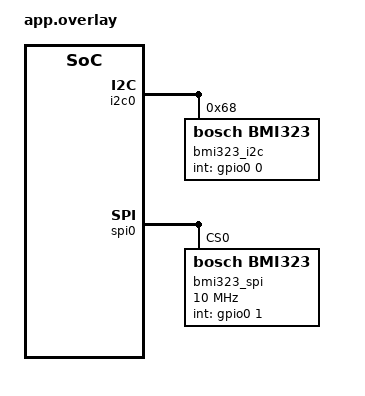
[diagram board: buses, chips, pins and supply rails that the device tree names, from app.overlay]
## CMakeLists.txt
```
# Copyright (c) 2026 Chaogui Deng
# SPDX-License-Identifier: Apache-2.0

cmake_minimum_required(VERSION 3.28.0)
find_package(Zephyr REQUIRED HINTS $ENV{ZEPHYR_BASE})
project(bmi323)

target_sources(app PRIVATE src/main.c)
```

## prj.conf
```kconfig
# Copyright (c) 2026 Chaogui Deng
# SPDX-License-Identifier: Apache-2.0

CONFIG_ZTEST=y

CONFIG_SENSOR=y
CONFIG_EMUL=y
CONFIG_GPIO=y

CONFIG_I2C_LOG_LEVEL_WRN=y
CONFIG_SENSOR_LOG_LEVEL_WRN=y
```

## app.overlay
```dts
/*
 * Copyright (c) 2026 Chaogui Deng
 * SPDX-License-Identifier: Apache-2.0
 */

#include <zephyr/dt-bindings/gpio/gpio.h>
#include <zephyr/dt-bindings/sensor/bmi323.h>

&i2c0 {
	/* Configured from devicetree, to cover the non-default path. */
	bmi323_i2c: bmi323@68 {
		compatible = "bosch,bmi323";
		reg = <0x68>;
		int-gpios = <&gpio0 0 GPIO_ACTIVE_HIGH>;
		accel-pwr-mode = <BMI323_DT_PWR_MODE_HIGH_PERF>;
		accel-odr = <BMI323_DT_ODR_200_HZ>;
		gyro-pwr-mode = <BMI323_DT_PWR_MODE_LOW_POWER>;
		gyro-odr = <BMI323_DT_ODR_50_HZ>;
	};
};

&spi0 {
	/* Left at the binding defaults, to cover the power-on reset path. */
	bmi323_spi: bmi323@0 {
		compatible = "bosch,bmi323";
		reg = <0>;
		spi-max-frequency = <10000000>;
		int-gpios = <&gpio0 1 GPIO_ACTIVE_HIGH>;
	};
};
```

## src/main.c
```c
/*
 * Copyright (c) 2026 Chaogui Deng
 *
 * SPDX-License-Identifier: Apache-2.0
 */

#include <errno.h>

#include <zephyr/devicetree.h>
#include <zephyr/drivers/emul.h>
#include <zephyr/drivers/sensor.h>
#include <zephyr/ztest.h>

#include "bmi323_emul.h"

/* The value the BMI323 reports in a data register when it has no sample. */
#define BMI323_NO_DATA ((int16_t)0x8000)

struct bmi323_fixture {
	const struct device *i2c_dev;
	const struct emul *i2c_target;
	const struct device *spi_dev;
	const struct emul *spi_target;
};

static void *bmi323_setup(void)
{
	static struct bmi323_fixture fixture = {
		.i2c_dev = DEVICE_DT_GET(DT_NODELABEL(bmi323_i2c)),
		.i2c_target = EMUL_DT_GET(DT_NODELABEL(bmi323_i2c)),
		.spi_dev = DEVICE_DT_GET(DT_NODELABEL(bmi323_spi)),
		.spi_target = EMUL_DT_GET(DT_NODELABEL(bmi323_spi)),
	};

	zassert_not_null(fixture.i2c_dev);
	zassert_not_null(fixture.i2c_target);
	zassert_not_null(fixture.spi_dev);
	zassert_not_null(fixture.spi_target);

	return &fixture;
}

ZTEST_SUITE(bmi323, NULL, bmi323_setup, NULL, NULL, NULL);

static void check_device_ready(const struct device *dev)
{
	zassert_true(device_is_ready(dev), "%s device not ready", dev->name);
}

/* A node that sets no properties gets the reset values: both sub-sensors off. */
static void check_dt_defaults(const struct device *dev)
{
	struct sensor_value value;

	zassert_ok(sensor_attr_get(dev, SENSOR_CHAN_ACCEL_XYZ, SENSOR_ATTR_FEATURE_MASK, &value));
	zassert_equal(0, value.val1, "accelerometer should be disabled");
	zassert_ok(sensor_attr_get(dev, SENSOR_CHAN_GYRO_XYZ, SENSOR_ATTR_FEATURE_MASK, &value));
	zassert_equal(0, value.val1, "gyroscope should be disabled");

	zassert_ok(sensor_attr_get(dev, SENSOR_CHAN_ACCEL_XYZ, SENSOR_ATTR_SAMPLING_FREQUENCY,
				   &value));
	zassert_equal(100, value.val1);
	zassert_equal(0, value.val2);
	zassert_ok(sensor_attr_get(dev, SENSOR_CHAN_ACCEL_XYZ, SENSOR_ATTR_FULL_SCALE, &value));
	zassert_equal(8, value.val1);
	zassert_equal(0, value.val2);

	zassert_ok(sensor_attr_get(dev, SENSOR_CHAN_GYRO_XYZ, SENSOR_ATTR_SAMPLING_FREQUENCY,
				   &value));
	zassert_equal(100, value.val1);
	zassert_equal(0, value.val2);
	zassert_ok(sensor_attr_get(dev, SENSOR_CHAN_GYRO_XYZ, SENSOR_ATTR_FULL_SCALE, &value));
	zassert_equal(2000, value.val1);
	zassert_equal(0, value.val2);
}

static void check_dt_config(const struct device *dev)
{
	struct sensor_value value;

	zassert_ok(sensor_attr_get(dev, SENSOR_CHAN_ACCEL_XYZ, SENSOR_ATTR_FEATURE_MASK, &value));
	zassert_equal(1, value.val1, "accelerometer should be enabled");
	zassert_ok(sensor_attr_get(dev, SENSOR_CHAN_GYRO_XYZ, SENSOR_ATTR_FEATURE_MASK, &value));
	zassert_equal(1, value.val1, "gyroscope should be enabled");

	zassert_ok(sensor_attr_get(dev, SENSOR_CHAN_ACCEL_XYZ, SENSOR_ATTR_SAMPLING_FREQUENCY,
				   &value));
	zassert_equal(200, value.val1);
	zassert_equal(0, value.val2);

	zassert_ok(
		sensor_attr_get(dev, SENSOR_CHAN_GYRO_XYZ, SENSOR_ATTR_SAMPLING_FREQUENCY, &value));
	zassert_equal(50, value.val1);
	zassert_equal(0, value.val2);

	/* Ranges are not described in devicetree, so they stay at reset values. */
	zassert_ok(sensor_attr_get(dev, SENSOR_CHAN_ACCEL_XYZ, SENSOR_ATTR_FULL_SCALE, &value));
	zassert_equal(8, value.val1);
	zassert_ok(sensor_attr_get(dev, SENSOR_CHAN_GYRO_XYZ, SENSOR_ATTR_FULL_SCALE, &value));
	zassert_equal(2000, value.val1);
}

static void check_attributes(const struct device *dev)
{
	struct sensor_value set;
	struct sensor_value get;

	set = (struct sensor_value){.val1 = 4};
	zassert_ok(sensor_attr_set(dev, SENSOR_CHAN_ACCEL_XYZ, SENSOR_ATTR_FULL_SCALE, &set));
	zassert_ok(sensor_attr_get(dev, SENSOR_CHAN_ACCEL_XYZ, SENSOR_ATTR_FULL_SCALE, &get));
	zassert_equal(4, get.val1);
	zassert_equal(0, get.val2);

	set = (struct sensor_value){.val1 = 200};
	zassert_ok(sensor_attr_set(dev, SENSOR_CHAN_ACCEL_XYZ, SENSOR_ATTR_SAMPLING_FREQUENCY,
				   &set));
	zassert_ok(sensor_attr_get(dev, SENSOR_CHAN_ACCEL_XYZ, SENSOR_ATTR_SAMPLING_FREQUENCY,
				   &get));
	zassert_equal(200, get.val1);
	zassert_equal(0, get.val2);

	set = (struct sensor_value){.val1 = 500};
	zassert_ok(sensor_attr_set(dev, SENSOR_CHAN_GYRO_XYZ, SENSOR_ATTR_FULL_SCALE, &set));
	zassert_ok(sensor_attr_get(dev, SENSOR_CHAN_GYRO_XYZ, SENSOR_ATTR_FULL_SCALE, &get));
	zassert_equal(500, get.val1);
	zassert_equal(0, get.val2);
}

static void check_invalid_samples(const struct device *dev)
{
	zassert_equal(-ENODATA, sensor_sample_fetch_chan(dev, SENSOR_CHAN_ACCEL_XYZ));
	zassert_equal(-ENODATA, sensor_sample_fetch_chan(dev, SENSOR_CHAN_GYRO_XYZ));
	zassert_equal(-ENODATA, sensor_sample_fetch_chan(dev, SENSOR_CHAN_DIE_TEMP));
	zassert_equal(-ENODATA, sensor_sample_fetch(dev));
}

static void check_per_axis_channels(const struct device *dev, const struct emul *target)
{
	static const enum sensor_channel accel_axes[] = {SENSOR_CHAN_ACCEL_X, SENSOR_CHAN_ACCEL_Y,
							 SENSOR_CHAN_ACCEL_Z};
	static const enum sensor_channel gyro_axes[] = {SENSOR_CHAN_GYRO_X, SENSOR_CHAN_GYRO_Y,
							SENSOR_CHAN_GYRO_Z};
	struct sensor_value vector[3];
	struct sensor_value axis;

	bmi323_emul_set_accel_raw(target, 1000, -2000, 3000);
	bmi323_emul_set_gyro_raw(target, -300, 400, -500);
	zassert_ok(sensor_sample_fetch(dev));

	zassert_ok(sensor_channel_get(dev, SENSOR_CHAN_ACCEL_XYZ, vector));
	for (size_t i = 0; i < ARRAY_SIZE(accel_axes); i++) {
		zassert_ok(sensor_channel_get(dev, accel_axes[i], &axis));
		zassert_equal(sensor_value_to_micro(&vector[i]), sensor_value_to_micro(&axis),
			      "accelerometer axis %zu disagrees with the vector", i);
	}

	zassert_ok(sensor_channel_get(dev, SENSOR_CHAN_GYRO_XYZ, vector));
	for (size_t i = 0; i < ARRAY_SIZE(gyro_axes); i++) {
		zassert_ok(sensor_channel_get(dev, gyro_axes[i], &axis));
		zassert_equal(sensor_value_to_micro(&vector[i]), sensor_value_to_micro(&axis),
			      "gyroscope axis %zu disagrees with the vector", i);
	}

	zassert_ok(sensor_sample_fetch_chan(dev, SENSOR_CHAN_ACCEL_Z));
	zassert_ok(sensor_channel_get(dev, SENSOR_CHAN_ACCEL_Z, &axis));

	zassert_equal(-ENOTSUP, sensor_sample_fetch_chan(dev, SENSOR_CHAN_MAGN_XYZ));
	zassert_equal(-ENOTSUP, sensor_channel_get(dev, SENSOR_CHAN_MAGN_XYZ, &axis));
}

static void check_fetch_all_partial(const struct device *dev, const struct emul *target)
{
	struct sensor_value values[3];

	bmi323_emul_set_accel_raw(target, 100, 200, 300);
	bmi323_emul_set_gyro_raw(target, 1, 2, 3);
	zassert_ok(sensor_sample_fetch(dev));
	zassert_ok(sensor_channel_get(dev, SENSOR_CHAN_GYRO_XYZ, values));

	/* Take the gyroscope away; the accelerometer fetch must still succeed. */
	bmi323_emul_set_gyro_raw(target, BMI323_NO_DATA, BMI323_NO_DATA, BMI323_NO_DATA);
	zassert_ok(sensor_sample_fetch(dev));
	zassert_ok(sensor_channel_get(dev, SENSOR_CHAN_ACCEL_XYZ, values));
	zassert_equal(-ENODATA, sensor_channel_get(dev, SENSOR_CHAN_GYRO_XYZ, values));
}

static void check_fetch_temperature(const struct device *dev, const struct emul *target)
{
	struct sensor_value value;

	/* 23 degC + 512 * 0.001953 degC/LSB = 23.999936 degC. */
	bmi323_emul_set_temperature_raw(target, 512);
	zassert_ok(sensor_sample_fetch_chan(dev, SENSOR_CHAN_DIE_TEMP));
	zassert_ok(sensor_channel_get(dev, SENSOR_CHAN_DIE_TEMP, &value));
	zassert_equal(23, value.val1);
	zassert_equal(999936, value.val2);
}

static void check_fetch_motion(const struct device *dev, const struct emul *target)
{
	struct sensor_value values[3];

	bmi323_emul_set_accel_raw(target, 1, -1, 0);
	zassert_ok(sensor_sample_fetch_chan(dev, SENSOR_CHAN_ACCEL_XYZ));
	zassert_ok(sensor_channel_get(dev, SENSOR_CHAN_ACCEL_XYZ, values));
	zassert_true(sensor_value_to_micro(&values[0]) > 0);
	zassert_true(sensor_value_to_micro(&values[1]) < 0);
	zassert_equal(0, sensor_value_to_micro(&values[2]));

	bmi323_emul_set_gyro_raw(target, -1, 0, 1);
	zassert_ok(sensor_sample_fetch_chan(dev, SENSOR_CHAN_GYRO_XYZ));
	zassert_ok(sensor_channel_get(dev, SENSOR_CHAN_GYRO_XYZ, values));
	zassert_true(sensor_value_to_micro(&values[0]) < 0);
	zassert_equal(0, sensor_value_to_micro(&values[1]));
	zassert_true(sensor_value_to_micro(&values[2]) > 0);
}

ZTEST_F(bmi323, test_i2c)
{
	check_device_ready(fixture->i2c_dev);
	check_dt_config(fixture->i2c_dev);
	check_invalid_samples(fixture->i2c_dev);
	check_attributes(fixture->i2c_dev);
	check_fetch_temperature(fixture->i2c_dev, fixture->i2c_target);
	check_fetch_motion(fixture->i2c_dev, fixture->i2c_target);
	check_per_axis_channels(fixture->i2c_dev, fixture->i2c_target);
	check_fetch_all_partial(fixture->i2c_dev, fixture->i2c_target);
}

ZTEST_F(bmi323, test_spi)
{
	check_device_ready(fixture->spi_dev);
	check_dt_defaults(fixture->spi_dev);
	check_invalid_samples(fixture->spi_dev);
	check_attributes(fixture->spi_dev);
	check_fetch_temperature(fixture->spi_dev, fixture->spi_target);
	check_fetch_motion(fixture->spi_dev, fixture->spi_target);
	check_per_axis_channels(fixture->spi_dev, fixture->spi_target);
	check_fetch_all_partial(fixture->spi_dev, fixture->spi_target);
}
```
